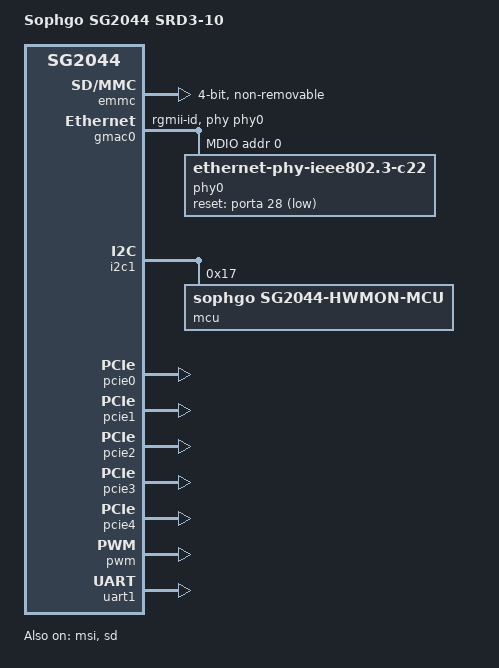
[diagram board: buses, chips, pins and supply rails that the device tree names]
// SPDX-License-Identifier: (GPL-2.0 OR MIT)
/*
 * Copyright (C) 2025 Inochi Amaoto <inochiama@gmail.com>
 */

/dts-v1/;

#include "sg2044.dtsi"

/ {
	model = "Sophgo SG2044 SRD3-10";
	compatible = "sophgo,srd3-10", "sophgo,sg2044";

	aliases {
		serial0 = &uart0;
		serial1 = &uart1;
		serial2 = &uart2;
		serial3 = &uart3;
	};

	chosen {
		stdout-path = "serial1:115200n8";
	};
};

&osc {
	clock-frequency = <25000000>;
};

&emmc {
	bus-width = <4>;
	no-sdio;
	no-sd;
	non-removable;
	wp-inverted;
	status = "okay";
};

&gmac0 {
	phy-handle = <&phy0>;
	phy-mode = "rgmii-id";
	status = "okay";

	mdio {
		phy0: phy@0 {
			compatible = "ethernet-phy-ieee802.3-c22";
			reg = <0>;
			reset-gpios = <&porta 28 GPIO_ACTIVE_LOW>;
			reset-assert-us = <10000>;
			reset-deassert-us = <10000>;
			rx-internal-delay-ps = <2050>;
		};
	};
};

&i2c1 {
	status = "okay";

	mcu: syscon@17 {
		compatible = "sophgo,sg2044-hwmon-mcu", "sophgo,sg2042-hwmon-mcu";
		reg = <0x17>;
		#thermal-sensor-cells = <1>;
	};
};

&msi {
	status = "okay";
};

&pcie0 {
	bus-range = <0x00 0xff>;
	linux,pci-domain = <1>;
	status = "okay";
};

&pcie1 {
	bus-range = <0x00 0xff>;
	linux,pci-domain = <0>;
	status = "okay";
};

&pcie2 {
	bus-range = <0x00 0xff>;
	linux,pci-domain = <3>;
	status = "okay";
};

&pcie3 {
	bus-range = <0x00 0xff>;
	linux,pci-domain = <2>;
	status = "okay";
};

&pcie4 {
	bus-range = <0x00 0xff>;
	linux,pci-domain = <4>;
	status = "okay";
};

&pwm {
	status = "okay";
};

&sd {
	bus-width = <4>;
	no-sdio;
	no-mmc;
	wp-inverted;
	status = "okay";
};

&uart0 {
	/* for firmware */
	status = "reserved";
};

&uart1 {
	status = "okay";
};
